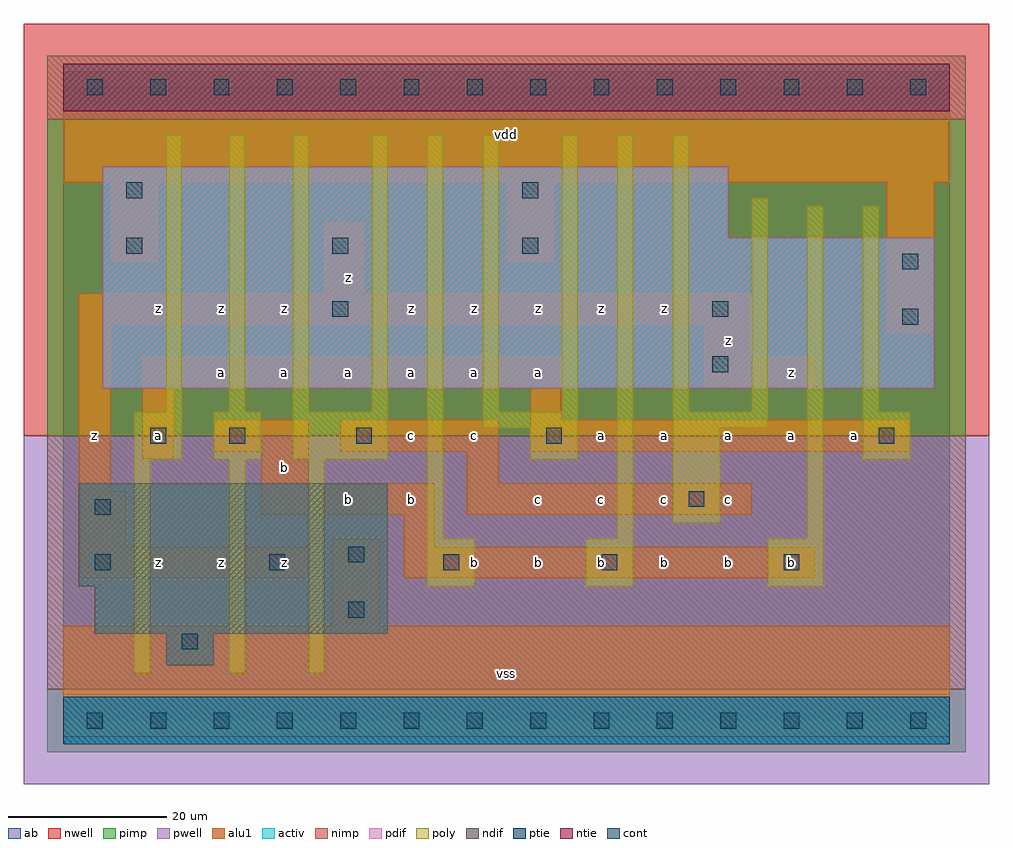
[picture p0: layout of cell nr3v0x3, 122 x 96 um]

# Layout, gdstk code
import gdstk
lib = gdstk.Library(unit=1e-6, precision=1e-09)
def R(c, l, rs):  # rectangles x0, y0, x1, y1
    for r in rs: c.add(gdstk.rectangle(r[:2], r[2:], *l))
def A(c, l, x, y, w, h, nx, ny, dx, dy):  # array of equal rectangles
    R(c, l, [(x+i*dx, y+j*dy, x+i*dx+w, y+j*dy+h) for i in range(nx) for j in range(ny)])
ndif = (3, 0)
pdif = (4, 0)
ntie = (5, 0)
ptie = (6, 0)
cont = (25, 0)
pwell = (41, 0)
nwell = (42, 0)
activ = (43, 0)
pimp = (44, 0)
nimp = (45, 0)
poly = (46, 0)
alu1 = (49, 0)
ab = (63, 0)

nr3v0x3 = lib.new_cell('nr3v0x3')
R(nr3v0x3, ndif, [(13,7,19,11), (4,11,41,17), (2,17,41,30)])
R(nr3v0x3, pdif, [(5,42,110,61), (5,61,84,70)])
R(nr3v0x3, ntie, [(0,77,112,83)])
R(nr3v0x3, ptie, [(0,-3,112,3)])
A(nr3v0x3, cont, 3, -1, 2, 2, 14, 2, 8, 80)
A(nr3v0x3, cont, 4, 19, 2, 2, 3, 1, 22, 0)
R(nr3v0x3, cont, [(15,9,17,11), (36,13,38,15), (68,19,70,21), (91,19,93,21), (36,20,38,22), (4,26,6,28), (79,27,81,29), (11,35,13,37), (21,35,23,37), (37,35,39,37), (61,35,63,37), (103,35,105,37), (82,44,84,46), (106,50,108,52), (34,51,36,53), (82,51,84,53), (106,57,108,59), (8,59,10,61), (34,59,36,61), (58,59,60,61), (8,66,10,68), (58,66,60,68)])
R(nr3v0x3, pwell, [(-5,-8,117,36)])
R(nr3v0x3, nwell, [(-5,36,117,88)])
R(nr3v0x3, activ, [(0,-3,112,3), (13,7,19,11), (4,11,41,17), (2,17,41,30), (5,42,110,61), (5,61,84,70), (0,77,112,83)])
R(nr3v0x3, pimp, [(-2,-4,114,4), (-2,36,114,76)])
R(nr3v0x3, nimp, [(-2,4,114,36), (-2,76,114,84)])
A(nr3v0x3, poly, 13, 39, 2, 35, 3, 1, 8, 0)
R(nr3v0x3, poly, [(9,6,11,33), (21,6,23,33), (31,6,33,33), (46,17,52,23), (66,17,72,23), (89,17,96,23), (46,23,48,74), (70,23,72,74), (94,23,96,65), (77,25,83,37), (9,33,15,39), (19,33,25,39), (29,33,41,39), (59,33,65,37), (101,33,107,39), (53,37,65,39), (77,37,89,39), (39,39,41,74), (53,39,55,74), (63,39,65,74), (77,39,79,74), (87,39,89,66), (101,39,103,65)])
R(nr3v0x3, alu1, [(0,-2,112,12), (34,12,40,23), (2,18,31,22), (43,18,95,22), (2,22,8,29), (43,22,47,26), (25,26,47,30), (51,26,87,30), (2,29,6,50), (25,30,31,34), (51,30,55,34), (10,33,14,42), (19,34,31,38), (35,34,55,38), (59,34,107,38), (59,38,63,42), (10,42,63,46), (81,42,95,46), (81,46,87,50), (104,49,110,68), (2,50,87,54), (33,54,38,63), (6,58,12,68), (56,58,62,68), (0,68,112,82)])
R(nr3v0x3, ab, [(0,0,112,80)])
nr3v0x3.add(gdstk.Label('z', (12,20), layer=49, texttype=0))
nr3v0x3.add(gdstk.Label('a', (12,36), layer=49, texttype=0))
nr3v0x3.add(gdstk.Label('z', (4,36), layer=49, texttype=0))
nr3v0x3.add(gdstk.Label('z', (12,52), layer=49, texttype=0))
nr3v0x3.add(gdstk.Label('z', (20,20), layer=49, texttype=0))
nr3v0x3.add(gdstk.Label('b', (36,28), layer=49, texttype=0))
nr3v0x3.add(gdstk.Label('z', (28,20), layer=49, texttype=0))
nr3v0x3.add(gdstk.Label('b', (28,32), layer=49, texttype=0))
nr3v0x3.add(gdstk.Label('a', (20,44), layer=49, texttype=0))
nr3v0x3.add(gdstk.Label('a', (36,44), layer=49, texttype=0))
nr3v0x3.add(gdstk.Label('a', (28,44), layer=49, texttype=0))
nr3v0x3.add(gdstk.Label('z', (28,52), layer=49, texttype=0))
nr3v0x3.add(gdstk.Label('z', (20,52), layer=49, texttype=0))
nr3v0x3.add(gdstk.Label('z', (36,56), layer=49, texttype=0))
nr3v0x3.add(gdstk.Label('vss', (56,6), layer=49, texttype=0))
nr3v0x3.add(gdstk.Label('b', (44,28), layer=49, texttype=0))
nr3v0x3.add(gdstk.Label('c', (60,28), layer=49, texttype=0))
nr3v0x3.add(gdstk.Label('b', (60,20), layer=49, texttype=0))
nr3v0x3.add(gdstk.Label('b', (52,20), layer=49, texttype=0))
nr3v0x3.add(gdstk.Label('a', (44,44), layer=49, texttype=0))
nr3v0x3.add(gdstk.Label('c', (44,36), layer=49, texttype=0))
nr3v0x3.add(gdstk.Label('a', (60,44), layer=49, texttype=0))
nr3v0x3.add(gdstk.Label('a', (52,44), layer=49, texttype=0))
nr3v0x3.add(gdstk.Label('c', (52,36), layer=49, texttype=0))
nr3v0x3.add(gdstk.Label('z', (60,52), layer=49, texttype=0))
nr3v0x3.add(gdstk.Label('z', (52,52), layer=49, texttype=0))
nr3v0x3.add(gdstk.Label('z', (44,52), layer=49, texttype=0))
nr3v0x3.add(gdstk.Label('vdd', (56,74), layer=49, texttype=0))
nr3v0x3.add(gdstk.Label('c', (68,28), layer=49, texttype=0))
nr3v0x3.add(gdstk.Label('b', (68,20), layer=49, texttype=0))
nr3v0x3.add(gdstk.Label('c', (84,28), layer=49, texttype=0))
nr3v0x3.add(gdstk.Label('b', (84,20), layer=49, texttype=0))
nr3v0x3.add(gdstk.Label('c', (76,28), layer=49, texttype=0))
nr3v0x3.add(gdstk.Label('b', (76,20), layer=49, texttype=0))
nr3v0x3.add(gdstk.Label('a', (68,36), layer=49, texttype=0))
nr3v0x3.add(gdstk.Label('a', (84,36), layer=49, texttype=0))
nr3v0x3.add(gdstk.Label('a', (76,36), layer=49, texttype=0))
nr3v0x3.add(gdstk.Label('z', (84,48), layer=49, texttype=0))
nr3v0x3.add(gdstk.Label('z', (76,52), layer=49, texttype=0))
nr3v0x3.add(gdstk.Label('z', (68,52), layer=49, texttype=0))
nr3v0x3.add(gdstk.Label('b', (92,20), layer=49, texttype=0))
nr3v0x3.add(gdstk.Label('z', (92,44), layer=49, texttype=0))
nr3v0x3.add(gdstk.Label('a', (92,36), layer=49, texttype=0))
nr3v0x3.add(gdstk.Label('a', (100,36), layer=49, texttype=0))

lib.write_gds('nr3v0x3.gds')
